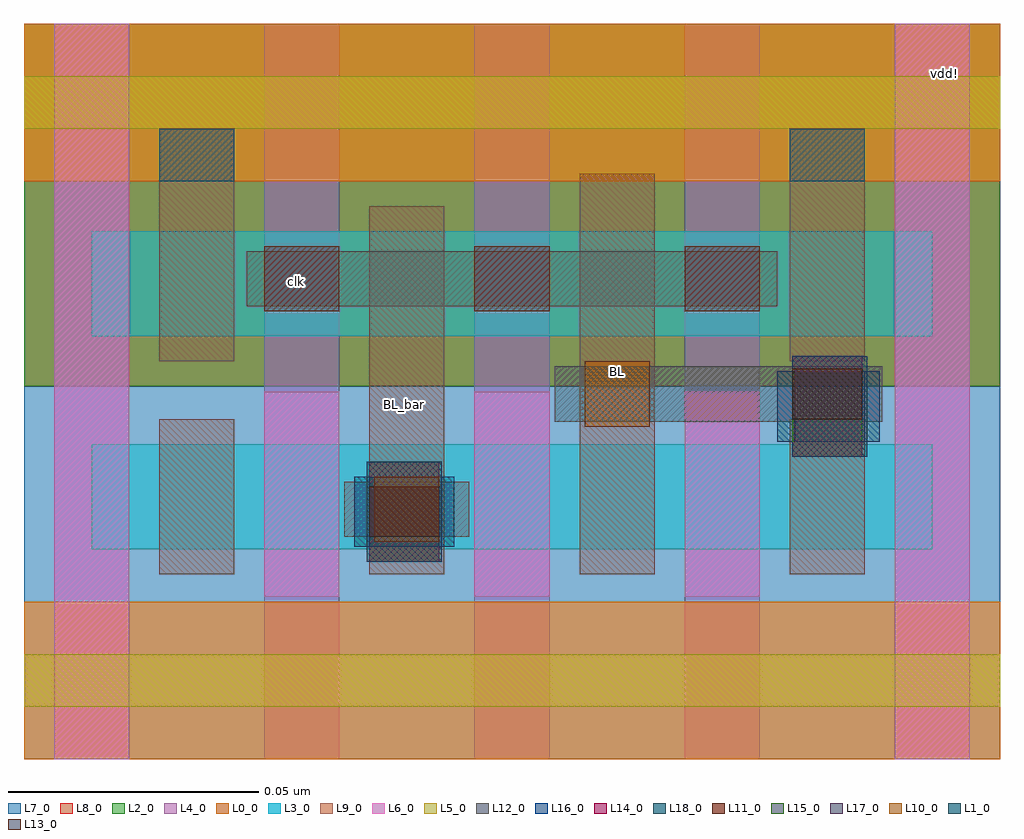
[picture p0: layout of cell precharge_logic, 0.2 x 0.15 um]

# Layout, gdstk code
import gdstk
lib = gdstk.Library(unit=1e-6, precision=5e-10)
def R(c, l, rs):  # rectangles x0, y0, x1, y1
    for r in rs: c.add(gdstk.rectangle(r[:2], r[2:], *l))
def A(c, l, x, y, w, h, nx, ny, dx, dy):  # array of equal rectangles
    R(c, l, [(x+i*dx, y+j*dy, x+i*dx+w, y+j*dy+h) for i in range(nx) for j in range(ny)])
L0_0 = (0, 0)
L1_0 = (1, 0)
L2_0 = (2, 0)
L3_0 = (3, 0)
L4_0 = (4, 0)
L5_0 = (5, 0)
L6_0 = (6, 0)
L7_0 = (7, 0)
L8_0 = (8, 0)
L9_0 = (9, 0)
L10_0 = (10, 0)
L11_0 = (11, 0)
L12_0 = (12, 0)
L13_0 = (13, 0)
L14_0 = (14, 0)
L15_0 = (15, 0)
L16_0 = (16, 0)
L17_0 = (17, 0)
L18_0 = (18, 0)

pmos = lib.new_cell('pmos')
R(pmos, L2_0, [(-0.042,-0.0205,0.042,0.0205)])
R(pmos, L3_0, [(-0.042,-0.0105,0.042,0.0105)])
A(pmos, L4_0, -0.0495, -0.032, 0.015, 0.064, 3, 1, 0.042, 0)
R(pmos, L8_0, [(-0.0555,-0.0205,0.0555,0.0205)])
R(pmos, L9_0, [(-0.0285,-0.0155,-0.0135,0.0155), (0.0135,-0.0155,0.0285,0.0155)])

gate_m0b = lib.new_cell('GATE_M0B')
R(gate_m0b, L4_0, [(-0.0075,-0.0115,0.0075,0.0115)])
R(gate_m0b, L11_0, [(-0.0075,-0.0065,0.0075,0.0065)])
R(gate_m0b, L12_0, [(-0.011,-0.0055,0.011,0.0055)])

nmos = lib.new_cell('nmos')
R(nmos, L3_0, [(-0.042,-0.0105,0.042,0.0105)])
A(nmos, L4_0, -0.0495, -0.032, 0.015, 0.064, 3, 1, 0.042, 0)
R(nmos, L7_0, [(-0.0555,-0.021,0.0555,0.0205)])
R(nmos, L9_0, [(-0.0285,-0.0155,-0.0135,0.0155), (0.0135,-0.0155,0.0285,0.0155)])

bpr_m0a = lib.new_cell('BPR_M0A')
R(bpr_m0a, L0_0, [(-0.021,-0.0055,0.021,0.026)])
R(bpr_m0a, L1_0, [(-0.0075,-0.0055,0.0075,0.005)])
R(bpr_m0a, L9_0, [(-0.0075,-0.0165,0.0075,0.005)])

m0a_m0b = lib.new_cell('M0A_M0B')
R(m0a_m0b, L9_0, [(-0.0075,-0.0055,0.0075,0.0055)])
R(m0a_m0b, L10_0, [(-0.0065,-0.0065,0.0065,0.0065)])
R(m0a_m0b, L12_0, [(-0.0125,-0.0055,0.0125,0.0055)])

m0b_m1 = lib.new_cell('M0B_M1')
R(m0b_m1, L12_0, [(-0.011,-0.005,0.011,0.005)])
R(m0b_m1, L13_0, [(-0.007,-0.005,0.007,0.005)])
R(m0b_m1, L14_0, [(-0.007,-0.0075,0.007,0.0075)])

m1_m2 = lib.new_cell('M1_M2')
R(m1_m2, L14_0, [(-0.007,-0.01,0.007,0.01)])
R(m1_m2, L15_0, [(-0.007,-0.007,0.007,0.007)])
R(m1_m2, L16_0, [(-0.01,-0.007,0.01,0.007)])

m2_m3 = lib.new_cell('M2_M3')
R(m2_m3, L16_0, [(-0.01,-0.007,0.01,0.007)])
R(m2_m3, L17_0, [(-0.007,-0.007,0.007,0.007)])
R(m2_m3, L18_0, [(-0.0075,-0.01,0.0075,0.01)])

precharge_logic = lib.new_cell('precharge_logic')
R(precharge_logic, L0_0, [(0,0,0.195,0.0315), (0,0.1155,0.195,0.147), (0.177,0.1315,0.191,0.143)])
R(precharge_logic, L2_0, [(0,0.0745,0.195,0.147)])
A(precharge_logic, L4_0, 0.006, 0, 0.015, 0.0225, 5, 2, 0.042, 0.1245)
R(precharge_logic, L5_0, [(0,0.0105,0.195,0.021), (0,0.126,0.195,0.1365)])
A(precharge_logic, L6_0, 0.048, 0.0325, 0.015, 0.041, 3, 1, 0.042, 0)
R(precharge_logic, L6_0, [(0.006,0,0.021,0.147), (0.174,0,0.189,0.147)])
R(precharge_logic, L7_0, [(0,0,0.195,0.0745)])
R(precharge_logic, L8_0, [(0,0.0745,0.195,0.147)])
R(precharge_logic, L9_0, [(0.069,0.037,0.084,0.1105), (0.111,0.0435,0.126,0.117), (0.072,0.067,0.08,0.0745), (0.113,0.073,0.124,0.082), (0.069,0.0795,0.084,0.0835), (0.111,0.0795,0.126,0.0835)])
R(precharge_logic, L12_0, [(0.106,0.0675,0.1715,0.0785), (0.0445,0.0905,0.1505,0.1015), (0.048,0.0915,0.0615,0.1)])
precharge_logic.add(gdstk.Reference(pmos, (0.1395,0.095)))
precharge_logic.add(gdstk.Reference(pmos, (0.0975,0.095)))
precharge_logic.add(gdstk.Reference(pmos, (0.0555,0.095)))
precharge_logic.add(gdstk.Reference(gate_m0b, (0.1395,0.096)))
precharge_logic.add(gdstk.Reference(gate_m0b, (0.0975,0.096)))
precharge_logic.add(gdstk.Reference(gate_m0b, (0.0555,0.096)))
precharge_logic.add(gdstk.Reference(nmos, (0.0555,0.0525)))
precharge_logic.add(gdstk.Reference(nmos, (0.0975,0.0525)))
precharge_logic.add(gdstk.Reference(nmos, (0.1395,0.0525)))
precharge_logic.add(gdstk.Reference(bpr_m0a, (0.0345,0.121)))
precharge_logic.add(gdstk.Reference(bpr_m0a, (0.1605,0.121)))
precharge_logic.add(gdstk.Reference(m0a_m0b, (0.1185,0.073)))
precharge_logic.add(gdstk.Reference(m0a_m0b, (0.0765,0.05)))
precharge_logic.add(gdstk.Reference(m0b_m1, (0.1605,0.073)))
precharge_logic.add(gdstk.Reference(m0b_m1, (0.076,0.0495)))
precharge_logic.add(gdstk.Reference(m1_m2, (0.1605,0.0705)))
precharge_logic.add(gdstk.Reference(m1_m2, (0.076,0.0495)))
precharge_logic.add(gdstk.Reference(m2_m3, (0.161,0.0705)))
precharge_logic.add(gdstk.Reference(m2_m3, (0.076,0.0495)))
precharge_logic.add(gdstk.Label('vdd!', (0.184,0.137), layer=0, texttype=0))
precharge_logic.add(gdstk.Label('BL_bar', (0.076,0.071), layer=9, texttype=0))
precharge_logic.add(gdstk.Label('BL', (0.1185,0.0775), layer=9, texttype=0))
precharge_logic.add(gdstk.Label('clk', (0.0545,0.0955), layer=12, texttype=0))

lib.write_gds('precharge_logic.gds')
